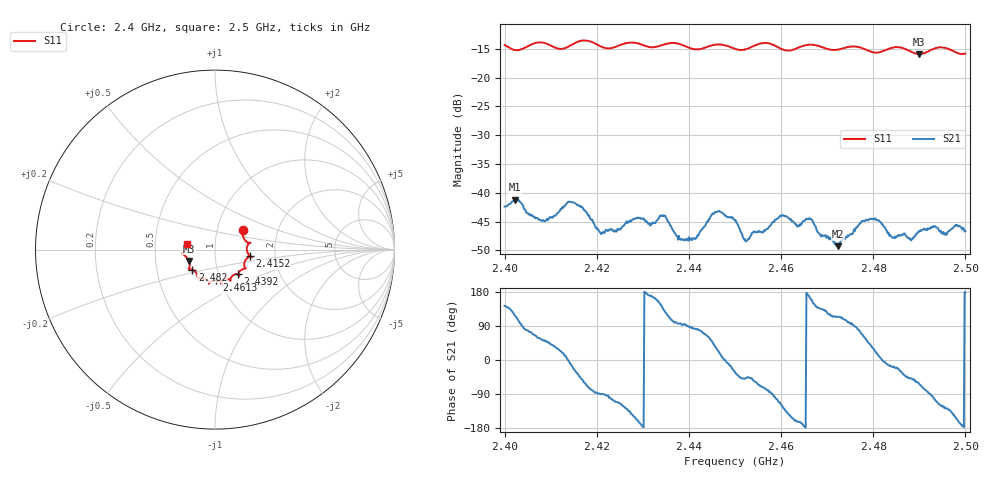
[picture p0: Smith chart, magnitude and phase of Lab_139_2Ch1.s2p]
# Hz S RI R 50
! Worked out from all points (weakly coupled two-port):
!   601 points, 2.4 GHz to 2.5 GHz, reference 50 ohm
!   highest |S21| = -41.20 dB at 2.4022 GHz (marker M1); lowest = -49.3 dB at 2.4723 GHz (marker M2)
!   lowest |S11| = -15.9 dB at 2.49 GHz (marker M3), VSWR 1.38, Z = 37 - j4.84 ohm
!   |S11| at or under -10 dB: start of sweep to end of sweep
!   S12 and S22 are empty: the file has one direction only
!   S11 on the Smith chart (normalised r, x): 2.4 GHz: 1.33, +0.31; 2.4152 GHz: 1.48, -0.11; 2.4392 GHz: 1.24, -0.35; 2.4613 GHz: 0.96, -0.34; 2.482 GHz: 0.76, -0.17; 2.5 GHz: 0.73, +0.05
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2.4e9  0.1562 0.1108  -0.00603 0.00459  0 0  0 0
2.402167e9  0.1563 0.0745  -0.00409 0.00768  0 0  0 0
2.408333e9  0.1968 0.0391  0.00361 0.00452  0 0  0 0
2.415167e9  0.1948 -0.0362  0.00737 -0.00357  0 0  0 0
2.416667e9  0.2045 -0.0421  0.00483 -0.00571  0 0  0 0
2.421167e9  0.177 -0.0506  -4.53e-06 -0.00451  0 0  0 0
2.433333e9  0.1322 -0.132  -0.00535 0.0025  0 0  0 0
2.434667e9  0.1312 -0.1426  -0.00405 0.00483  0 0  0 0
2.439167e9  0.1269 -0.1377  -0.000286 0.00394  0 0  0 0
2.441667e9  0.1022 -0.1427  0.000616 0.00401  0 0  0 0
2.446e9  0.0856 -0.1737  0.00587 0.0034  0 0  0 0
2.45e9  0.0691 -0.1636  0.00484 -0.00304  0 0  0 0
2.4525e9  0.0424 -0.1713  0.00261 -0.00276  0 0  0 0
2.461333e9  0.00701 -0.1712  -0.00471 -0.00397  0 0  0 0
2.466667e9  -0.034 -0.1899  -0.00539 0.00219  0 0  0 0
2.472333e9  -0.07 -0.1601  -0.00143 0.00312  0 0  0 0
2.478e9  -0.097 -0.1485  0.00279 0.00494  0 0  0 0
2.482e9  -0.1263 -0.1119  0.00532 -0.000151  0 0  0 0
2.483333e9  -0.1393 -0.1098  0.00437 -0.00109  0 0  0 0
2.488167e9  -0.1415 -0.0905  0.00257 -0.00287  0 0  0 0
2.49e9  -0.1464 -0.0638  0.00203 -0.00412  0 0  0 0
2.5e9  -0.158 0.0333  -0.00463 0.000146  0 0  0 0
